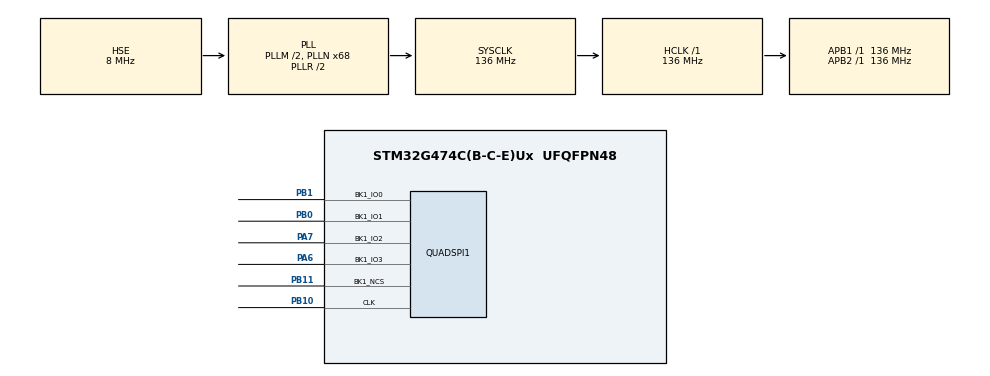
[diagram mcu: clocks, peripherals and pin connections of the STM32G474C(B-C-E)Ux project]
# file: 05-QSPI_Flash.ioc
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Mcu.Family=STM32G4
Mcu.Name=STM32G474C(B-C-E)Ux
Mcu.Package=UFQFPN48
NVIC.PriorityGroup=NVIC_PRIORITYGROUP_4
PA13.Mode=Serial_Wire
PA13.Signal=SYS_JTMS-SWDIO
PA14.Mode=Serial_Wire
PA14.Signal=SYS_JTCK-SWCLK
PA6.GPIO_Speed=GPIO_SPEED_FREQ_HIGH
PA6.Mode=Single Bank 1
PA6.Signal=QUADSPI1_BK1_IO3
PA7.GPIO_Speed=GPIO_SPEED_FREQ_HIGH
PA7.Mode=Single Bank 1
PA7.Signal=QUADSPI1_BK1_IO2
PB0.GPIO_Speed=GPIO_SPEED_FREQ_HIGH
PB0.Mode=Single Bank 1
PB0.Signal=QUADSPI1_BK1_IO1
PB1.GPIO_Speed=GPIO_SPEED_FREQ_HIGH
PB1.Mode=Single Bank 1
PB1.Signal=QUADSPI1_BK1_IO0
PB10.GPIO_Speed=GPIO_SPEED_FREQ_HIGH
PB10.Mode=Single Bank 1
PB10.Signal=QUADSPI1_CLK
PB11.GPIO_Speed=GPIO_SPEED_FREQ_HIGH
PB11.Mode=Single Bank 1
PB11.Signal=QUADSPI1_BK1_NCS
PC14-OSC32_IN.Mode=LSE-External-Oscillator
PC14-OSC32_IN.Signal=RCC_OSC32_IN
PC15-OSC32_OUT.Mode=LSE-External-Oscillator
PC15-OSC32_OUT.Signal=RCC_OSC32_OUT
PF0-OSC_IN.Mode=HSE-External-Oscillator
PF0-OSC_IN.Signal=RCC_OSC_IN
PF1-OSC_OUT.Mode=HSE-External-Oscillator
PF1-OSC_OUT.Signal=RCC_OSC_OUT
ProjectManager.HeapSize=0x200
ProjectManager.StackSize=0x400
ProjectManager.TargetToolchain=MDK-ARM V5.27
QUADSPI1.ChipSelectHighTime=QSPI_CS_HIGH_TIME_8_CYCLE
QUADSPI1.ClockMode=QSPI_CLOCK_MODE_3
QUADSPI1.ClockPrescaler=3-1
QUADSPI1.FlashSize=23-1
QUADSPI1.SampleShifting=QSPI_SAMPLE_SHIFTING_NONE
RCC.ADC12Freq_Value=136000000
RCC.ADC345Freq_Value=136000000
RCC.AHBFreq_Value=136000000
RCC.APB1Freq_Value=136000000
RCC.APB1TimFreq_Value=136000000
RCC.APB2Freq_Value=136000000
RCC.APB2TimFreq_Value=136000000
RCC.CortexFreq_Value=136000000
RCC.EXTERNAL_CLOCK_VALUE=12288000
RCC.HCLKFreq_Value=136000000
RCC.HSE_VALUE=8000000
RCC.HSI48_VALUE=48000000
RCC.HSI_VALUE=16000000
RCC.PLLM=RCC_PLLM_DIV2
RCC.PLLN=68
RCC.PLLSourceVirtual=RCC_PLLSOURCE_HSE
RCC.SYSCLKFreq_VALUE=136000000
RCC.SYSCLKSource=RCC_SYSCLKSOURCE_PLLCLK
RCC.USBFreq_Value=136000000
RCC.VCOOutputFreq_Value=272000000
VP_SYS_VS_DBSignals.Mode=DisableDeadBatterySignals
board=custom

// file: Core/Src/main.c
/* USER CODE BEGIN Header */
/*---------------------------------------
- WeAct Studio Official Link
- taobao: weactstudio.taobao.com
- aliexpress: weactstudio.aliexpress.com
- github: github.com/WeActStudio
- gitee: gitee.com/WeActStudio
- blog: blog.weactstudio.com
---------------------------------------*/
/**
  ******************************************************************************
  * @file           : main.c
  * @brief          : Main program body
  ******************************************************************************
  * @attention
  *
  * Copyright (c) 2023 STMicroelectronics.
  * All rights reserved.
  *
  * This software is licensed under terms that can be found in the LICENSE file
  * in the root directory of this software component.
  * If no LICENSE file comes with this software, it is provided AS-IS.
  *
  ******************************************************************************
  */
/* USER CODE END Header */
#include "main.h"
#include "gpio.h"

/* USER CODE BEGIN PV */
uint8_t read[4096];
uint8_t write[4096];
/* USER CODE END PV */

void SystemClock_Config(void);

int main(void)
{

  /* MCU Configuration--------------------------------------------------------*/

  /* Reset of all peripherals, Initializes the Flash interface and the Systick. */
  HAL_Init();

  /* Configure the system clock */
  SystemClock_Config();

  /* Initialize all configured peripherals */
  MX_GPIO_Init();
  /* USER CODE BEGIN 2 */
	#include "board.h"
	uint32_t tick,tick_now;
	board_button_init();
	board_led_init();

	tick = HAL_GetTick() + 200;
	tick_now = HAL_GetTick();

	#include "w25qxx_qspi.h"
	w25qxx_Init();
	w25qxx_EnterQPI();

	W25qxx_EraseSector(0);
	for(uint32_t j=0;j<sizeof(write);j+=256)
		for(uint32_t i=0;i<=0xff;i++)
			write[j+i] = i;
	W25qxx_WriteNoCheck(write,0,sizeof(write));
	W25qxx_Read(read,0,sizeof(read));
	for(uint32_t j=0;j<sizeof(read);j+=256)
		for(uint32_t i=0;i<=0xff;i++)
		{
			if(read[j+i] != i)
			{
				while(1)
				{
					board_led_toggle();
					HAL_Delay(80);
				}
			}

		}
  /* USER CODE END 2 */

  /* Infinite loop */
  while (1)
  {

    /* USER CODE BEGIN 3 */
		tick_now = HAL_GetTick();
    if(board_button_getstate())
    {
      if(tick_now >= tick)
      {
        tick = tick_now + 200;
        board_led_toggle();
      }
    }
    else
    {
      if(tick_now >= tick)
      {
        tick = tick_now + 500;
        board_led_toggle();
      }
    }
  }
  /* USER CODE END 3 */
}

void SystemClock_Config(void)
{
  RCC_OscInitTypeDef RCC_OscInitStruct = {0};
  RCC_ClkInitTypeDef RCC_ClkInitStruct = {0};

  /** Configure the main internal regulator output voltage
  */
  HAL_PWREx_ControlVoltageScaling(PWR_REGULATOR_VOLTAGE_SCALE1);

  /** Initializes the RCC Oscillators according to the specified parameters
  * in the RCC_OscInitTypeDef structure.
  */
  RCC_OscInitStruct.OscillatorType = RCC_OSCILLATORTYPE_HSE;
  RCC_OscInitStruct.HSEState = RCC_HSE_ON;
  RCC_OscInitStruct.PLL.PLLState = RCC_PLL_ON;
  RCC_OscInitStruct.PLL.PLLSource = RCC_PLLSOURCE_HSE;
  RCC_OscInitStruct.PLL.PLLM = RCC_PLLM_DIV2;
  RCC_OscInitStruct.PLL.PLLN = 68;
  RCC_OscInitStruct.PLL.PLLP = RCC_PLLP_DIV2;
  RCC_OscInitStruct.PLL.PLLQ = RCC_PLLQ_DIV2;
  RCC_OscInitStruct.PLL.PLLR = RCC_PLLR_DIV2;
  if (HAL_RCC_OscConfig(&RCC_OscInitStruct) != HAL_OK)
  {
    Error_Handler();
  }

  /** Initializes the CPU, AHB and APB buses clocks
  */
  RCC_ClkInitStruct.ClockType = RCC_CLOCKTYPE_HCLK|RCC_CLOCKTYPE_SYSCLK
                              |RCC_CLOCKTYPE_PCLK1|RCC_CLOCKTYPE_PCLK2;
  RCC_ClkInitStruct.SYSCLKSource = RCC_SYSCLKSOURCE_PLLCLK;
  RCC_ClkInitStruct.AHBCLKDivider = RCC_SYSCLK_DIV1;
  RCC_ClkInitStruct.APB1CLKDivider = RCC_HCLK_DIV1;
  RCC_ClkInitStruct.APB2CLKDivider = RCC_HCLK_DIV1;

  if (HAL_RCC_ClockConfig(&RCC_ClkInitStruct, FLASH_LATENCY_4) != HAL_OK)
  {
    Error_Handler();
  }
}

void Error_Handler(void)
{
  __disable_irq();
  while (1)
  {
  }
}
